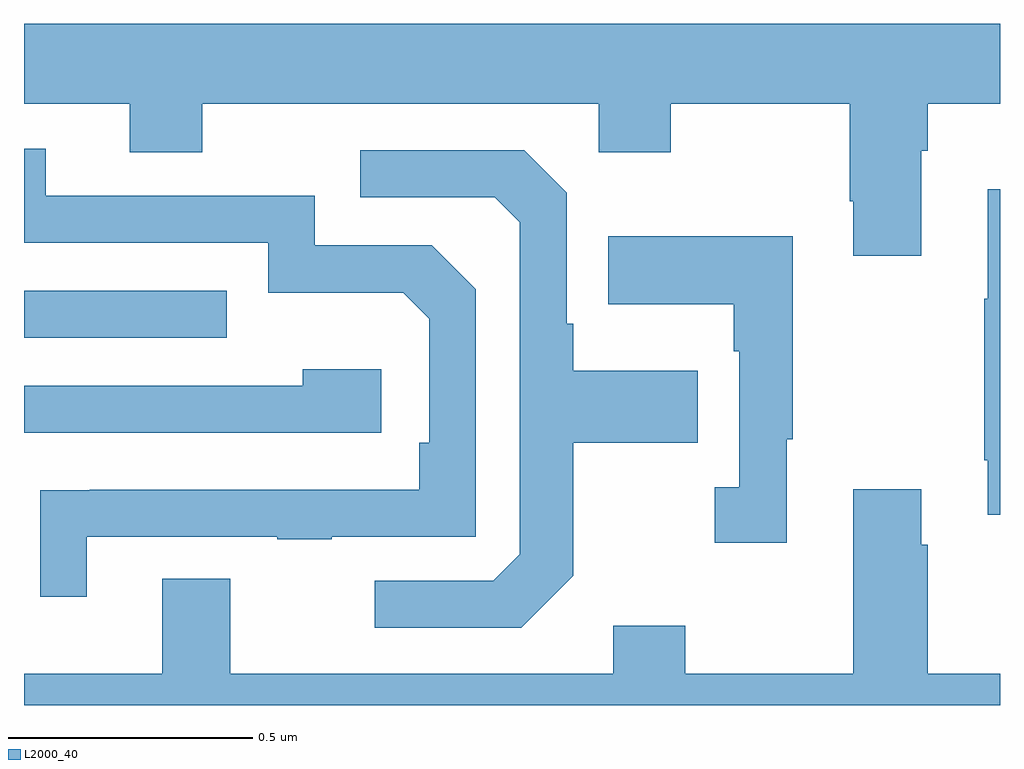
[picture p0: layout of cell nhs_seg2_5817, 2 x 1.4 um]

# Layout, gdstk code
import gdstk
lib = gdstk.Library(unit=1e-6, precision=1e-09)
def R(c, l, rs):  # rectangles x0, y0, x1, y1
    for r in rs: c.add(gdstk.rectangle(r[:2], r[2:], *l))
def P(c, l, *ps):  # polygons
    for p in ps: c.add(gdstk.Polygon(p, *l))
L2000_40 = (2000, 40)

nhs_seg2_5817 = lib.new_cell('nhs_seg2_5817')
R(nhs_seg2_5817, L2000_40, [(184,584.553,184.415,584.649)])
P(nhs_seg2_5817, L2000_40, [(185.839,584.936),(185.852,584.936),(185.852,585.032),(186,585.032),(186,585.196),(184,585.196),(184,585.032),(184.217,585.032),(184.217,584.933),(184.365,584.933),(184.365,585.032),(185.178,585.032),(185.178,584.933),(185.325,584.933),(185.325,585.032),(185.692,585.032),(185.692,584.833),(185.699,584.833),(185.699,584.721),(185.839,584.721)],
  [(184.129,584.145),(184.519,584.145),(184.519,584.14),(184.631,584.14),(184.631,584.145),(184.926,584.145),(184.926,584.652),(184.836,584.742),(184.596,584.742),(184.596,584.844),(184.045,584.844),(184.045,584.94),(184,584.94),(184,584.748),(184.5,584.748),(184.5,584.645),(184.777,584.645),(184.83,584.592),(184.83,584.338),(184.81,584.338),(184.81,584.241),(184.135,584.241),(184.135,584.24),(184.033,584.24),(184.033,584.022),(184.129,584.022)],
  [(185.125,584.065),(185.125,584.338),(185.381,584.338),(185.381,584.485),(185.125,584.485),(185.125,584.581),(185.112,584.581),(185.112,584.85),(185.025,584.937),(184.689,584.937),(184.689,584.841),(184.965,584.841),(185.016,584.79),(185.016,584.109),(184.962,584.055),(184.719,584.055),(184.719,583.959),(185.019,583.959)],
  [(186,584.857),(185.975,584.857),(185.975,584.633),(185.968,584.633),(185.968,584.302),(185.975,584.302),(185.975,584.19),(186,584.19)],
  [(185.563,584.345),(185.575,584.345),(185.575,584.761),(185.197,584.761),(185.197,584.621),(185.454,584.621),(185.454,584.525),(185.466,584.525),(185.466,584.246),(185.415,584.246),(185.415,584.133),(185.563,584.133)],
  [(184.732,584.488),(184.571,584.488),(184.571,584.454),(184,584.454),(184,584.358),(184.732,584.358)],
  [(186,583.864),(185.852,583.864),(185.852,584.129),(185.839,584.129),(185.839,584.242),(185.699,584.242),(185.699,583.864),(185.355,583.864),(185.355,583.963),(185.207,583.963),(185.207,583.864),(184.423,583.864),(184.423,584.059),(184.283,584.059),(184.283,583.864),(184,583.864),(184,583.8),(186,583.8)])

lib.write_gds('nhs_seg2_5817.gds')
